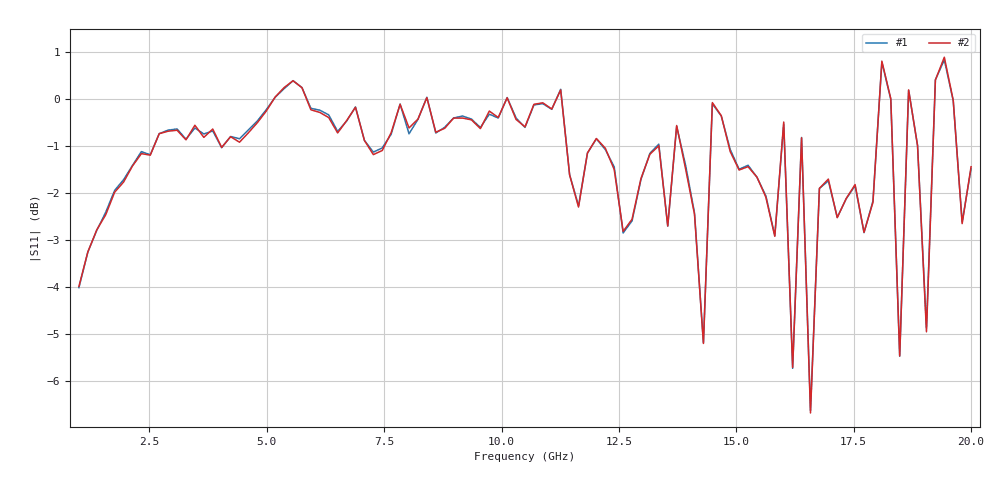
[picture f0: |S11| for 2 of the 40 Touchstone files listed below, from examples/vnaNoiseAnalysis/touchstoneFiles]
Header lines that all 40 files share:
# GHz S RI R 50
!freq	ReS11	ImS11
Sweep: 1 GHz to 20 GHz
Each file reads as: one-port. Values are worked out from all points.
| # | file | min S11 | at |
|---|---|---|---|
| 1 | 2010-12-01 15-49-33.653000.s1p | -6.6 dB | 16.58 GHz |
| 2 | 2010-12-01 15-49-35.235000.s1p | -6.7 dB | 16.58 GHz |
| 3 | 2010-12-01 15-49-36.858000.s1p | -6.7 dB | 16.58 GHz |
| 4 | 2010-12-01 15-49-38.470000.s1p | -6.7 dB | 16.58 GHz |
| 5 | 2010-12-01 15-49-40.092000.s1p | -6.7 dB | 16.58 GHz |
| 6 | 2010-12-01 15-49-41.705000.s1p | -6.7 dB | 16.58 GHz |
| 7 | 2010-12-01 15-49-43.337000.s1p | -6.7 dB | 16.58 GHz |
| 8 | 2010-12-01 15-49-44.979000.s1p | -6.7 dB | 16.58 GHz |
| 9 | 2010-12-01 15-49-46.622000.s1p | -6.6 dB | 16.58 GHz |
| 10 | 2010-12-01 15-49-48.254000.s1p | -6.7 dB | 16.58 GHz |
| 11 | 2010-12-01 15-49-49.876000.s1p | -6.7 dB | 16.58 GHz |
| 12 | 2010-12-01 15-49-51.519000.s1p | -6.7 dB | 16.58 GHz |
| 13 | 2010-12-01 15-49-53.131000.s1p | -6.6 dB | 16.58 GHz |
| 14 | 2010-12-01 15-49-54.783000.s1p | -6.7 dB | 16.58 GHz |
| 15 | 2010-12-01 15-49-56.396000.s1p | -6.7 dB | 16.58 GHz |
| 16 | 2010-12-01 15-49-58.018000.s1p | -6.7 dB | 16.58 GHz |
| 17 | 2010-12-01 15-49-59.640000.s1p | -6.7 dB | 16.58 GHz |
| 18 | 2010-12-01 15-50-01.273000.s1p | -6.7 dB | 16.58 GHz |
| 19 | 2010-12-01 15-50-02.915000.s1p | -6.7 dB | 16.58 GHz |
| 20 | 2010-12-01 15-50-04.548000.s1p | -6.7 dB | 16.58 GHz |
| 21 | 2010-12-01 15-50-06.180000.s1p | -6.7 dB | 16.58 GHz |
| 22 | 2010-12-01 15-50-07.802000.s1p | -6.7 dB | 16.58 GHz |
| 23 | 2010-12-01 15-50-09.394000.s1p | -6.7 dB | 16.58 GHz |
| 24 | 2010-12-01 15-50-11.037000.s1p | -6.7 dB | 16.58 GHz |
| 25 | 2010-12-01 15-50-12.669000.s1p | -6.7 dB | 16.58 GHz |
| 26 | 2010-12-01 15-50-14.312000.s1p | -6.7 dB | 16.58 GHz |
| 27 | 2010-12-01 15-50-15.924000.s1p | -6.7 dB | 16.58 GHz |
| 28 | 2010-12-01 15-50-17.556000.s1p | -6.6 dB | 16.58 GHz |
| 29 | 2010-12-01 15-50-19.179000.s1p | -6.7 dB | 16.58 GHz |
| 30 | 2010-12-01 15-50-20.831000.s1p | -6.7 dB | 16.58 GHz |
| 31 | 2010-12-01 15-50-22.483000.s1p | -6.7 dB | 16.58 GHz |
| 32 | 2010-12-01 15-50-24.096000.s1p | -6.7 dB | 16.58 GHz |
| 33 | 2010-12-01 15-50-25.688000.s1p | -6.7 dB | 16.58 GHz |
| 34 | 2010-12-01 15-50-27.320000.s1p | -6.7 dB | 16.58 GHz |
| 35 | 2010-12-01 15-50-28.953000.s1p | -6.7 dB | 16.58 GHz |
| 36 | 2010-12-01 15-50-30.595000.s1p | -6.7 dB | 16.58 GHz |
| 37 | 2010-12-01 15-50-32.247000.s1p | -6.7 dB | 16.58 GHz |
| 38 | 2010-12-01 15-50-33.880000.s1p | -6.7 dB | 16.58 GHz |
| 39 | 2010-12-01 15-50-35.532000.s1p | -6.7 dB | 16.58 GHz |
| 40 | 2010-12-01 15-50-37.184000.s1p | -6.7 dB | 16.58 GHz |
